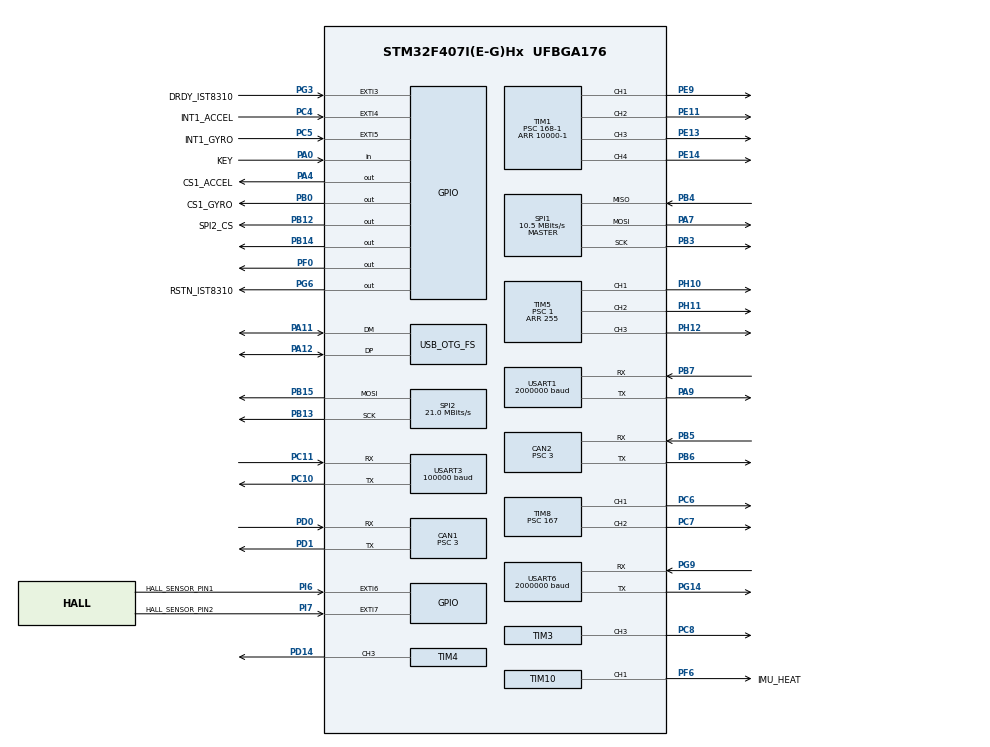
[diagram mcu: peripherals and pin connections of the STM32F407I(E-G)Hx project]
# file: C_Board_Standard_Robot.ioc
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CAN1.BS1=CAN_BS1_10TQ
CAN1.BS2=CAN_BS2_3TQ
CAN1.CalculateBaudRate=1000000
CAN1.CalculateTimeQuantum=71.42857142857143
CAN1.Prescaler=3
CAN1.SJW=CAN_SJW_1TQ
CAN2.BS1=CAN_BS1_10TQ
CAN2.BS2=CAN_BS2_3TQ
CAN2.CalculateBaudRate=1000000
CAN2.CalculateTimeQuantum=71.42857142857143
CAN2.Prescaler=3
Dma.Request0=SPI1_RX
Dma.Request1=SPI1_TX
Dma.Request2=USART3_RX
Dma.Request3=SPI2_TX
Dma.Request4=USART1_TX
Dma.Request5=USART6_RX
Dma.Request6=USART6_TX
Dma.Request7=USART1_RX
Dma.SPI1_RX.0.Direction=DMA_PERIPH_TO_MEMORY
Dma.SPI1_RX.0.FIFOMode=DMA_FIFOMODE_DISABLE
Dma.SPI1_RX.0.Instance=DMA2_Stream2
Dma.SPI1_RX.0.MemDataAlignment=DMA_MDATAALIGN_BYTE
Dma.SPI1_RX.0.MemInc=DMA_MINC_ENABLE
Dma.SPI1_RX.0.Mode=DMA_NORMAL
Dma.SPI1_RX.0.PeriphDataAlignment=DMA_PDATAALIGN_BYTE
Dma.SPI1_RX.0.PeriphInc=DMA_PINC_DISABLE
Dma.SPI1_RX.0.Priority=DMA_PRIORITY_VERY_HIGH
Dma.SPI1_TX.1.Direction=DMA_MEMORY_TO_PERIPH
Dma.SPI1_TX.1.FIFOMode=DMA_FIFOMODE_DISABLE
Dma.SPI1_TX.1.Instance=DMA2_Stream3
Dma.SPI1_TX.1.MemDataAlignment=DMA_MDATAALIGN_BYTE
Dma.SPI1_TX.1.MemInc=DMA_MINC_ENABLE
Dma.SPI1_TX.1.Mode=DMA_NORMAL
Dma.SPI1_TX.1.PeriphDataAlignment=DMA_PDATAALIGN_BYTE
Dma.SPI1_TX.1.PeriphInc=DMA_PINC_DISABLE
Dma.SPI1_TX.1.Priority=DMA_PRIORITY_HIGH
Dma.SPI2_TX.3.Direction=DMA_MEMORY_TO_PERIPH
Dma.SPI2_TX.3.FIFOMode=DMA_FIFOMODE_DISABLE
Dma.SPI2_TX.3.Instance=DMA1_Stream4
Dma.SPI2_TX.3.MemDataAlignment=DMA_MDATAALIGN_BYTE
Dma.SPI2_TX.3.MemInc=DMA_MINC_ENABLE
Dma.SPI2_TX.3.Mode=DMA_NORMAL
Dma.SPI2_TX.3.PeriphDataAlignment=DMA_PDATAALIGN_BYTE
Dma.SPI2_TX.3.PeriphInc=DMA_PINC_DISABLE
Dma.SPI2_TX.3.Priority=DMA_PRIORITY_LOW
Dma.USART1_RX.7.Direction=DMA_PERIPH_TO_MEMORY
Dma.USART1_RX.7.FIFOMode=DMA_FIFOMODE_DISABLE
Dma.USART1_RX.7.Instance=DMA2_Stream5
Dma.USART1_RX.7.MemDataAlignment=DMA_MDATAALIGN_BYTE
Dma.USART1_RX.7.MemInc=DMA_MINC_ENABLE
Dma.USART1_RX.7.Mode=DMA_NORMAL
Dma.USART1_RX.7.PeriphDataAlignment=DMA_PDATAALIGN_BYTE
Dma.USART1_RX.7.PeriphInc=DMA_PINC_DISABLE
Dma.USART1_RX.7.Priority=DMA_PRIORITY_MEDIUM
Dma.USART1_TX.4.Direction=DMA_MEMORY_TO_PERIPH
Dma.USART1_TX.4.FIFOMode=DMA_FIFOMODE_DISABLE
Dma.USART1_TX.4.Instance=DMA2_Stream7
Dma.USART1_TX.4.MemDataAlignment=DMA_MDATAALIGN_BYTE
Dma.USART1_TX.4.MemInc=DMA_MINC_ENABLE
Dma.USART1_TX.4.Mode=DMA_NORMAL
Dma.USART1_TX.4.PeriphDataAlignment=DMA_PDATAALIGN_BYTE
Dma.USART1_TX.4.PeriphInc=DMA_PINC_DISABLE
Dma.USART1_TX.4.Priority=DMA_PRIORITY_LOW
Dma.USART3_RX.2.Direction=DMA_PERIPH_TO_MEMORY
Dma.USART3_RX.2.FIFOMode=DMA_FIFOMODE_DISABLE
Dma.USART3_RX.2.Instance=DMA1_Stream1
Dma.USART3_RX.2.MemDataAlignment=DMA_MDATAALIGN_BYTE
Dma.USART3_RX.2.MemInc=DMA_MINC_ENABLE
Dma.USART3_RX.2.Mode=DMA_NORMAL
Dma.USART3_RX.2.PeriphDataAlignment=DMA_PDATAALIGN_BYTE
Dma.USART3_RX.2.PeriphInc=DMA_PINC_DISABLE
Dma.USART3_RX.2.Priority=DMA_PRIORITY_VERY_HIGH
Dma.USART6_RX.5.Direction=DMA_PERIPH_TO_MEMORY
Dma.USART6_RX.5.FIFOMode=DMA_FIFOMODE_DISABLE
Dma.USART6_RX.5.Instance=DMA2_Stream1
Dma.USART6_RX.5.MemDataAlignment=DMA_MDATAALIGN_BYTE
Dma.USART6_RX.5.MemInc=DMA_MINC_ENABLE
Dma.USART6_RX.5.Mode=DMA_NORMAL
Dma.USART6_RX.5.PeriphDataAlignment=DMA_PDATAALIGN_BYTE
Dma.USART6_RX.5.PeriphInc=DMA_PINC_DISABLE
Dma.USART6_RX.5.Priority=DMA_PRIORITY_LOW
Dma.USART6_TX.6.Direction=DMA_MEMORY_TO_PERIPH
Dma.USART6_TX.6.FIFOMode=DMA_FIFOMODE_DISABLE
Dma.USART6_TX.6.Instance=DMA2_Stream6
Dma.USART6_TX.6.MemDataAlignment=DMA_MDATAALIGN_BYTE
Dma.USART6_TX.6.MemInc=DMA_MINC_ENABLE
Dma.USART6_TX.6.Mode=DMA_NORMAL
Dma.USART6_TX.6.PeriphDataAlignment=DMA_PDATAALIGN_BYTE
Dma.USART6_TX.6.PeriphInc=DMA_PINC_DISABLE
Dma.USART6_TX.6.Priority=DMA_PRIORITY_LOW
FREERTOS.Events01=UART_FIFO_e,Static,UART_FIFO_eControlBlock;STEP_RESPON_GLOBAL_VARIABLE,Static,STEP_RESPON_GLOBAL_VARIABLEControlBlock;Key_e,Dynamic,NULL
FREERTOS.INCLUDE_eTaskGetState=1
FREERTOS.INCLUDE_pcTaskGetTaskName=1
FREERTOS.INCLUDE_uxTaskGetStackHighWaterMark=1
FREERTOS.INCLUDE_vTaskCleanUpResources=1
FREERTOS.INCLUDE_vTaskDelayUntil=1
FREERTOS.INCLUDE_xEventGroupSetBitFromISR=1
FREERTOS.INCLUDE_xQueueGetMutexHolder=1
FREERTOS.INCLUDE_xSemaphoreGetMutexHolder=1
FREERTOS.INCLUDE_xTaskAbortDelay=1
FREERTOS.INCLUDE_xTaskGetCurrentTaskHandle=1
FREERTOS.INCLUDE_xTaskGetHandle=1
FREERTOS.INCLUDE_xTimerPendFunctionCall=1
FREERTOS.Mutexes01=UART1_FIFO_mu,Static,UART1_FIFO_muControlBlock;UART6_FIFO_mu,Static,UART6_FIFO_muControlBlock
FREERTOS.Queues01=LED_q,16,uint16_t,0,Dynamic,NULL,NULL;BUZ_q,16,uint16_t,0,Dynamic,NULL,NULL;SERVO_q,16,uint16_t,0,Dynamic,NULL,NULL
FREERTOS.Tasks01=INSTask,8,1024,StartINSTask,Default,NULL,Static,INSTaskBuffer,INSTaskControlBlock;LEDTask,8,128,StartLEDTask,Default,NULL,Static,LEDTaslBuffer,LEDTaslControlBlock;BUZTask,8,128,StartBUZTask,Default,NULL,Static,BUZTaskBuffer,BUZTaskControlBlock;CANTask,8,4096,StartCANTask,Default,NULL,Static,CANTaskBuffer,CANTaskControlBlock;UART1Task,8,1024,StartUART1Task,Default,NULL,Static,UART1TaskBuffer,UART1TaskControlBlock;UART6Task,8,1024,StartUART6Task,Default,NULL,Static,UART6TaskBuffer,UART6TaskControlBlock;SERVOTask,8,128,StartSERVOTask,Default,NULL,Static,SERVOTaskBuffer,SERVOTaskControlBlock;STEP_RESPONSETa,8,256,StartSTEP_RESPONSETask,Default,NULL,Dynamic,NULL,NULL;UART6RxTask,8,512,StartUART6RxTask,Default,NULL,Static,UART6RxTaskBuffer,UART6RxTaskControlBlock;UART1RxTask,8,512,StartUART1RxTask,Default,NULL,Static,UART1RxTaskBuffer,UART1RxTaskControlBlock;MOTORTask,8,512,StartMOTORTask,Default,NULL,Dynamic,NULL,NULL;RunTimeStats,8,512,StartTask12,Default,NULL,Dynamic,NULL,NULL
FREERTOS.configCHECK_FOR_STACK_OVERFLOW=0
FREERTOS.configGENERATE_RUN_TIME_STATS=1
FREERTOS.configRECORD_STACK_HIGH_ADDRESS=1
FREERTOS.configTOTAL_HEAP_SIZE=32768
FREERTOS.configUSE_NEWLIB_REENTRANT=1
FREERTOS.configUSE_STATS_FORMATTING_FUNCTIONS=1
FREERTOS.configUSE_TRACE_FACILITY=1
Mcu.Family=STM32F4
Mcu.Name=STM32F407I(E-G)Hx
Mcu.Package=UFBGA176
NVIC.CAN1_RX0_IRQn=true\:5\:0\:false\:false\:true\:false\:true\:true\:true
NVIC.CAN2_RX0_IRQn=true\:5\:0\:false\:false\:true\:false\:true\:true\:true
NVIC.DMA1_Stream1_IRQn=true\:5\:0\:false\:false\:true\:true\:false\:true\:true
NVIC.DMA1_Stream4_IRQn=true\:5\:0\:false\:false\:true\:true\:false\:true\:true
NVIC.DMA2_Stream1_IRQn=true\:5\:0\:false\:false\:true\:true\:false\:true\:true
NVIC.DMA2_Stream2_IRQn=true\:5\:0\:true\:false\:false\:false\:false\:true\:true
NVIC.DMA2_Stream3_IRQn=true\:5\:0\:true\:false\:false\:false\:false\:true\:true
NVIC.DMA2_Stream5_IRQn=true\:5\:0\:false\:false\:true\:true\:false\:true\:true
NVIC.DMA2_Stream6_IRQn=true\:5\:0\:false\:false\:true\:true\:false\:true\:true
NVIC.DMA2_Stream7_IRQn=true\:5\:0\:false\:false\:true\:true\:false\:true\:true
NVIC.EXTI3_IRQn=true\:5\:0\:true\:false\:true\:false\:true\:true\:true
NVIC.EXTI4_IRQn=true\:5\:0\:true\:false\:true\:false\:true\:true\:true
NVIC.EXTI9_5_IRQn=true\:5\:0\:true\:false\:true\:false\:true\:true\:true
NVIC.HASH_RNG_IRQn=true\:5\:0\:false\:false\:true\:false\:true\:true\:true
NVIC.OTG_FS_IRQn=true\:5\:0\:false\:false\:true\:true\:false\:true\:true
NVIC.PriorityGroup=NVIC_PRIORITYGROUP_4
NVIC.TIM2_IRQn=true\:0\:0\:false\:false\:true\:false\:false\:true\:true
NVIC.TIM7_IRQn=true\:5\:0\:false\:false\:true\:true\:true\:true\:true
NVIC.TIM8_TRG_COM_TIM14_IRQn=true\:5\:0\:false\:false\:true\:true\:true\:true\:true
NVIC.TimeBase=TIM2_IRQn
NVIC.TimeBaseIP=TIM2
NVIC.USART1_IRQn=true\:5\:0\:true\:false\:true\:false\:true\:true\:true
NVIC.USART3_IRQn=true\:5\:0\:true\:false\:true\:false\:true\:true\:true
NVIC.USART6_IRQn=true\:5\:0\:false\:false\:true\:false\:true\:true\:true
PA0-WKUP.GPIO_Label=KEY
PA0-WKUP.GPIO_PuPd=GPIO_PULLUP
PA0-WKUP.Signal=GPIO_Input
PA11.Mode=Device_Only
PA11.Signal=USB_OTG_FS_DM
PA12.Mode=Device_Only
PA12.Signal=USB_OTG_FS_DP
PA13.Mode=Serial_Wire
PA13.Signal=SYS_JTMS-SWDIO
PA14.Mode=Serial_Wire
PA14.Signal=SYS_JTCK-SWCLK
PA4.GPIO_Label=CS1_ACCEL
PA4.GPIO_PuPd=GPIO_PULLUP
PA4.GPIO_Speed=GPIO_SPEED_FREQ_HIGH
PA4.PinState=GPIO_PIN_SET
PA4.Signal=GPIO_Output
PA7.GPIO_PuPd=GPIO_PULLUP
PA7.Mode=Full_Duplex_Master
PA7.Signal=SPI1_MOSI
PA9.Mode=Asynchronous
PA9.Signal=USART1_TX
PB0.GPIO_Label=CS1_GYRO
PB0.GPIO_PuPd=GPIO_PULLUP
PB0.GPIO_Speed=GPIO_SPEED_FREQ_HIGH
PB0.PinState=GPIO_PIN_SET
PB0.Signal=GPIO_Output
PB12.GPIO_Label=SPI2_CS
PB12.GPIO_PuPd=GPIO_PULLUP
PB12.GPIO_Speed=GPIO_SPEED_FREQ_MEDIUM
PB12.PinState=GPIO_PIN_SET
PB12.Signal=GPIO_Output
PB13.Mode=TX_Only_Simplex_Unidirect_Master
PB13.Signal=SPI2_SCK
PB14.GPIO_Speed=GPIO_SPEED_FREQ_VERY_HIGH
PB14.Signal=GPIO_Output
PB15.Mode=TX_Only_Simplex_Unidirect_Master
PB15.Signal=SPI2_MOSI
PB3.GPIO_PuPd=GPIO_PULLUP
PB3.Mode=Full_Duplex_Master
PB3.Signal=SPI1_SCK
PB4.GPIO_PuPd=GPIO_PULLUP
PB4.Mode=Full_Duplex_Master
PB4.Signal=SPI1_MISO
PB5.Mode=CAN_Activate
PB5.Signal=CAN2_RX
PB6.Mode=CAN_Activate
PB6.Signal=CAN2_TX
PB7.Mode=Asynchronous
PB7.Signal=USART1_RX
PC10.GPIO_PuPd=GPIO_PULLUP
PC10.Mode=Asynchronous
PC10.Signal=USART3_TX
PC11.GPIO_PuPd=GPIO_PULLUP
PC11.Mode=Asynchronous
PC11.Signal=USART3_RX
PC4.GPIO_Label=INT1_ACCEL
PC4.GPIO_ModeDefaultEXTI=GPIO_MODE_IT_FALLING
PC4.GPIO_PuPd=GPIO_PULLUP
PC4.Signal=GPXTI4
PC5.GPIO_Label=INT1_GYRO
PC5.GPIO_ModeDefaultEXTI=GPIO_MODE_IT_FALLING
PC5.GPIO_PuPd=GPIO_PULLUP
PC5.Signal=GPXTI5
PC6.Signal=S_TIM8_CH1
PC7.Signal=S_TIM8_CH2
PC8.Signal=S_TIM3_CH3
PD0.Mode=CAN_Activate
PD0.Signal=CAN1_RX
PD1.Mode=CAN_Activate
PD1.Signal=CAN1_TX
PD14.Signal=S_TIM4_CH3
PE11.Signal=S_TIM1_CH2
PE13.Signal=S_TIM1_CH3
PE14.Signal=S_TIM1_CH4
PE9.Signal=S_TIM1_CH1
PF0.GPIO_Speed=GPIO_SPEED_FREQ_VERY_HIGH
PF0.Signal=GPIO_Output
PF6.GPIO_Label=IMU_HEAT
PF6.GPIO_PuPd=GPIO_PULLUP
PF6.GPIO_Speed=GPIO_SPEED_FREQ_HIGH
PF6.Signal=S_TIM10_CH1
PG14.Mode=Asynchronous
PG14.Signal=USART6_TX
PG3.GPIO_Label=DRDY_IST8310
PG3.GPIO_ModeDefaultEXTI=GPIO_MODE_IT_FALLING
PG3.GPIO_PuPd=GPIO_PULLUP
PG3.Signal=GPXTI3
PG6.GPIO_Label=RSTN_IST8310
PG6.GPIO_PuPd=GPIO_PULLUP
PG6.GPIO_Speed=GPIO_SPEED_FREQ_MEDIUM
PG6.PinState=GPIO_PIN_SET
PG6.Signal=GPIO_Output
PG9.Mode=Asynchronous
PG9.Signal=USART6_RX
PH0-OSC_IN.Mode=HSE-External-Oscillator
PH0-OSC_IN.Signal=RCC_OSC_IN
PH1-OSC_OUT.Mode=HSE-External-Oscillator
PH1-OSC_OUT.Signal=RCC_OSC_OUT
PH10.Signal=S_TIM5_CH1
PH11.Signal=S_TIM5_CH2
PH12.Signal=S_TIM5_CH3
PI6.GPIO_Label=HALL_SENSOR_PIN1
PI6.Signal=GPXTI6
PI7.GPIO_Label=HALL_SENSOR_PIN2
PI7.Signal=GPXTI7
ProjectManager.HeapSize=0x2000
ProjectManager.StackSize=0x5000
ProjectManager.TargetToolchain=STM32CubeIDE
RCC.48MHZClocksFreq_Value=48000000
RCC.AHBFreq_Value=168000000
RCC.APB1CLKDivider=RCC_HCLK_DIV4
RCC.APB1Freq_Value=42000000
RCC.APB1TimFreq_Value=84000000
RCC.APB2CLKDivider=RCC_HCLK_DIV2
RCC.APB2Freq_Value=84000000
RCC.APB2TimFreq_Value=168000000
RCC.CortexFreq_Value=168000000
RCC.EnbaleCSS=true
RCC.HCLKFreq_Value=168000000
RCC.HSE_VALUE=12000000
RCC.HSI_VALUE=16000000
RCC.LSE_VALUE=32768
RCC.PLLM=6
RCC.PLLN=168
RCC.PLLQ=7
RCC.RCC_RTC_Clock_SourceVirtual=RCC_RTCCLKSOURCE_HSE_DIV30
RCC.RCC_RTC_Clock_Source_FROM_HSE=RCC_RTCCLKSOURCE_HSE_DIV30
RCC.SYSCLKFreq_VALUE=168000000
RCC.SYSCLKSource=RCC_SYSCLKSOURCE_PLLCLK
RCC.VCOOutputFreq_Value=336000000
SH.S_TIM10_CH1.0=TIM10_CH1,PWM Generation1 CH1
SH.S_TIM1_CH1.0=TIM1_CH1,PWM Generation1 CH1
SH.S_TIM1_CH2.0=TIM1_CH2,PWM Generation2 CH2
SH.S_TIM1_CH3.0=TIM1_CH3,PWM Generation3 CH3
SH.S_TIM1_CH4.0=TIM1_CH4,PWM Generation4 CH4
SH.S_TIM3_CH3.0=TIM3_CH3,PWM Generation3 CH3
SH.S_TIM4_CH3.0=TIM4_CH3,PWM Generation3 CH3
SH.S_TIM5_CH1.0=TIM5_CH1,PWM Generation1 CH1
SH.S_TIM5_CH2.0=TIM5_CH2,PWM Generation2 CH2
SH.S_TIM5_CH3.0=TIM5_CH3,PWM Generation3 CH3
SH.S_TIM8_CH1.0=TIM8_CH1,PWM Generation1 CH1
SH.S_TIM8_CH2.0=TIM8_CH2,PWM Generation2 CH2
SPI1.BaudRatePrescaler=SPI_BAUDRATEPRESCALER_8
SPI1.CLKPhase=SPI_PHASE_2EDGE
SPI1.CLKPolarity=SPI_POLARITY_HIGH
SPI1.CalculateBaudRate=10.5 MBits/s
SPI1.Direction=SPI_DIRECTION_2LINES
SPI1.Mode=SPI_MODE_MASTER
SPI1.VirtualType=VM_MASTER
SPI2.CalculateBaudRate=21.0 MBits/s
SPI2.Direction=SPI_DIRECTION_2LINES
SPI2.Mode=SPI_MODE_MASTER
SPI2.VirtualType=VM_MASTER
TIM1.Channel-PWM\ Generation1\ CH1=TIM_CHANNEL_1
TIM1.Channel-PWM\ Generation2\ CH2=TIM_CHANNEL_2
TIM1.Channel-PWM\ Generation3\ CH3=TIM_CHANNEL_3
TIM1.Channel-PWM\ Generation4\ CH4=TIM_CHANNEL_4
TIM1.Period=10000-1
TIM1.Prescaler=168-1
TIM10.Channel=TIM_CHANNEL_1
TIM10.Period=2000-1
TIM10.Prescaler=84-1
TIM11.Period=0
TIM11.Prescaler=16799
TIM13.Period=0
TIM13.Prescaler=167
TIM14.Period=16800-1
TIM14.Prescaler=100-1
TIM3.Channel-PWM\ Generation3\ CH3=TIM_CHANNEL_3
TIM3.Pulse-PWM\ Generation3\ CH3=32768
TIM4.Channel-PWM\ Generation3\ CH3=TIM_CHANNEL_3
TIM4.Period=7635
TIM4.Prescaler=84
TIM5.Channel-PWM\ Generation1\ CH1=TIM_CHANNEL_1
TIM5.Channel-PWM\ Generation2\ CH2=TIM_CHANNEL_2
TIM5.Channel-PWM\ Generation3\ CH3=TIM_CHANNEL_3
TIM5.Period=255
TIM5.Prescaler=1
TIM7.Period=1000 - 1
TIM7.Prescaler=168 - 1
TIM8.Channel-PWM\ Generation1\ CH1=TIM_CHANNEL_1
TIM8.Channel-PWM\ Generation2\ CH2=TIM_CHANNEL_2
TIM8.Period=19999
TIM8.Prescaler=167
USART1.BaudRate=2000000
USART1.VirtualMode=VM_ASYNC
USART3.BaudRate=100000
USART3.Mode=MODE_RX
USART3.Parity=PARITY_EVEN
USART3.VirtualMode=VM_ASYNC
USART3.WordLength=WORDLENGTH_9B
USART6.BaudRate=2000000
USART6.VirtualMode=VM_ASYNC
USB_DEVICE.CLASS_NAME_FS=CDC
USB_DEVICE.MANUFACTURER_STRING-CDC_FS=Lab.304
USB_DEVICE.PRODUCT_STRING_CDC_FS=Alipay
USB_DEVICE.VirtualMode-CDC_FS=Cdc
USB_DEVICE.VirtualModeFS=Cdc_FS
USB_OTG_FS.VirtualMode=Device_Only
VP_CRC_VS_CRC.Mode=CRC_Activate
VP_FREERTOS_VS_CMSIS_V2.Mode=CMSIS_V2
VP_IWDG_VS_IWDG.Mode=IWDG_Activate
VP_RNG_VS_RNG.Mode=RNG_Activate
VP_SYS_VS_tim2.Mode=TIM2
VP_TIM10_VS_ClockSourceINT.Mode=Enable_Timer
VP_TIM11_VS_ClockSourceINT.Mode=Enable_Timer
VP_TIM13_VS_ClockSourceINT.Mode=Enable_Timer
VP_TIM14_VS_ClockSourceINT.Mode=Enable_Timer
VP_TIM1_VS_ClockSourceINT.Mode=Internal
VP_TIM3_VS_ClockSourceINT.Mode=Internal
VP_TIM4_VS_ClockSourceINT.Mode=Internal
VP_TIM5_VS_ClockSourceINT.Mode=Internal
VP_TIM7_VS_ClockSourceINT.Mode=Enable_Timer
VP_TIM8_VS_ClockSourceINT.Mode=Internal
VP_USB_DEVICE_VS_USB_DEVICE_CDC_FS.Mode=CDC_FS
board=custom

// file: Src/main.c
/* USER CODE BEGIN Header */
/**
 ******************************************************************************
 * @file           : main.c
 * @brief          : Main program body
 ******************************************************************************
 * @attention
 *
 * Copyright (c) 2024 STMicroelectronics.
 * All rights reserved.
 *
 * This software is licensed under terms that can be found in the LICENSE file
 * in the root directory of this software component.
 * If no LICENSE file comes with this software, it is provided AS-IS.
 *
 ******************************************************************************
 */
/* USER CODE END Header */
#include "main.h"
#include "cmsis_os.h"
#include "can.h"
#include "crc.h"
#include "dma.h"
#include "rng.h"
#include "spi.h"
#include "tim.h"
#include "usart.h"
#include "gpio.h"

/* USER CODE BEGIN Includes */
#include "usb_device.h"

#include "bsp.h"
#include "app_rc.h"
#include "ins_task.h"
#include "bsp_dwt.h"
#include "app_aim.h"
/* USER CODE END Includes */

void SystemClock_Config (void);
void MX_FREERTOS_Init (void);

/* USER CODE BEGIN 0 */

/*configAPPLICATION_ALLOCATED_HEAP FreeRTOS heap defined in CCMRAM*/
__attribute__ ((section(".ccmram"))) uint8_t ucHeap[configTOTAL_HEAP_SIZE];

uint32_t g_osRuntimeCounter = 0;

/* USER CODE END 0 */

int main (void)
{

  /* MCU Configuration--------------------------------------------------------*/

  /* Reset of all peripherals, Initializes the Flash interface and the Systick. */
  HAL_Init ();

  /* USER CODE BEGIN Init */
  HAL_RCC_DeInit ();
  /* USER CODE END Init */

  /* Configure the system clock */
  SystemClock_Config ();

  /* Initialize all configured peripherals */
  MX_GPIO_Init ();
  MX_DMA_Init ();
  MX_SPI1_Init ();
  MX_TIM10_Init ();
  MX_CAN1_Init ();
  MX_CAN2_Init ();
  MX_USART3_UART_Init ();
  MX_USART1_UART_Init ();
  MX_USART6_UART_Init ();
  MX_SPI2_Init ();
  MX_CRC_Init ();
  MX_RNG_Init ();
  MX_TIM3_Init ();
  MX_TIM4_Init ();
  MX_TIM5_Init ();
  MX_TIM8_Init ();
  MX_TIM11_Init ();
  MX_TIM13_Init ();
  MX_TIM1_Init ();
  MX_TIM14_Init ();
  MX_TIM7_Init ();
  /* USER CODE BEGIN 2 */
  MX_USB_DEVICE_Init ();

  bsp_led_init ();
  bsp_led_write (LED_BLUE, 255);//end in MX_FREERTOS_Init

  bsp_uart_init ();

  CAN_FilterSetup ();
  remote_control_init ();

  app_aim_init ();

//  bsp_buz_init ();
//  bsp_buz_apply_frequency (83);

  while (BMI088_init (&hspi1, 1) != BMI088_NO_ERROR);
  DWT_Init (168);
  INS_Init ();

//  bsp_buz_mute ();

  /* USER CODE END 2 */

  /* Init scheduler */
  osKernelInitialize ();

  /* Call init function for freertos objects (in freertos.c) */
  MX_FREERTOS_Init ();

  /* Start scheduler */
  osKernelStart ();

  /* We should never get here as control is now taken by the scheduler */
  /* Infinite loop */
  while (1)
	{

	}
}

void SystemClock_Config (void)
{
  RCC_OscInitTypeDef RCC_OscInitStruct = {0};
  RCC_ClkInitTypeDef RCC_ClkInitStruct = {0};

  /** Configure the main internal regulator output voltage
  */
  __HAL_RCC_PWR_CLK_ENABLE();
  __HAL_PWR_VOLTAGESCALING_CONFIG(PWR_REGULATOR_VOLTAGE_SCALE1);

  /** Initializes the RCC Oscillators according to the specified parameters
  * in the RCC_OscInitTypeDef structure.
  */
  RCC_OscInitStruct.OscillatorType = RCC_OSCILLATORTYPE_LSI | RCC_OSCILLATORTYPE_HSE;
  RCC_OscInitStruct.HSEState = RCC_HSE_ON;
  RCC_OscInitStruct.LSIState = RCC_LSI_ON;
  RCC_OscInitStruct.PLL.PLLState = RCC_PLL_ON;
  RCC_OscInitStruct.PLL.PLLSource = RCC_PLLSOURCE_HSE;
  RCC_OscInitStruct.PLL.PLLM = 6;
  RCC_OscInitStruct.PLL.PLLN = 168;
  RCC_OscInitStruct.PLL.PLLP = RCC_PLLP_DIV2;
  RCC_OscInitStruct.PLL.PLLQ = 7;
  if (HAL_RCC_OscConfig (&RCC_OscInitStruct) != HAL_OK)
	{
	  Error_Handler ();
	}

  /** Initializes the CPU, AHB and APB buses clocks
  */
  RCC_ClkInitStruct.ClockType = RCC_CLOCKTYPE_HCLK | RCC_CLOCKTYPE_SYSCLK
								| RCC_CLOCKTYPE_PCLK1 | RCC_CLOCKTYPE_PCLK2;
  RCC_ClkInitStruct.SYSCLKSource = RCC_SYSCLKSOURCE_PLLCLK;
  RCC_ClkInitStruct.AHBCLKDivider = RCC_SYSCLK_DIV1;
  RCC_ClkInitStruct.APB1CLKDivider = RCC_HCLK_DIV4;
  RCC_ClkInitStruct.APB2CLKDivider = RCC_HCLK_DIV2;

  if (HAL_RCC_ClockConfig (&RCC_ClkInitStruct, FLASH_LATENCY_5) != HAL_OK)
	{
	  Error_Handler ();
	}

  /** Enables the Clock Security System
  */
  HAL_RCC_EnableCSS ();
}

void HAL_TIM_PeriodElapsedCallback (TIM_HandleTypeDef *htim)
{
  if (htim->Instance == TIM2)
	{
	  HAL_IncTick ();
	}
  /* USER CODE BEGIN Callback 1 */
  if (htim->Instance == TIM7)
	{
	  g_osRuntimeCounter++;
	}
  /* USER CODE END Callback 1 */
}

void Error_Handler (void)
{
  /* USER CODE BEGIN Error_Handler_Debug */
  /* User can add his own implementation to report the HAL error return state */
  __disable_irq ();
  while (1)
	{
	}
  /* USER CODE END Error_Handler_Debug */
}

#ifdef  USE_FULL_ASSERT
/**
  * @brief  Reports the name of the source file and the source line number
  *         where the assert_param error has occurred.
  * @param  file: pointer to the source file name
  * @param  line: assert_param error line source number
  * @retval None
  */
void assert_failed (uint8_t *file, uint32_t line)
{
  /* USER CODE BEGIN 6 */
  /* User can add his own implementation to report the file name and line
	 number, ex: printf("Wrong parameters value: file %s on line %d\r\n", file,
	 line) */
  /* USER CODE END 6 */
}
#endif /* USE_FULL_ASSERT */

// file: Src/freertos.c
/* USER CODE BEGIN Header */
/**
 ******************************************************************************
 * File Name          : freertos.c
 * Description        : Code for freertos applications
 ******************************************************************************
 * @attention
 *
 * Copyright (c) 2024 STMicroelectronics.
 * All rights reserved.
 *
 * This software is licensed under terms that can be found in the LICENSE file
 * in the root directory of this software component.
 * If no LICENSE file comes with this software, it is provided AS-IS.
 *
 ******************************************************************************
 */
/* USER CODE END Header */

#include "FreeRTOS.h"
#include "task.h"
#include "main.h"
#include "cmsis_os.h"

/* USER CODE BEGIN Includes */
#include "can.h"
#include "crc.h"
#include "dma.h"
#include "gpio.h"
#include "rng.h"
#include "spi.h"
#include "tim.h"
#include "usart.h"

#include "stdio.h"
#include <stdarg.h>

#include "bsp.h"

#include "app_pid.h"
#include "app_step_resp.h"

#include "semphr.h"
#include "ins_task.h"
#include "app_rc.h"
#include "app_nav.h"

#include "usbd_cdc_if.h"
#include "bsp_isr.h"
#include "app_motor.h"
#include "app_aim.h"

#pragma clang diagnostic push
#pragma ide diagnostic ignored "UnusedValue"
#pragma ide diagnostic ignored "UnusedParameter"
#pragma ide diagnostic ignored "EndlessLoop"
/* USER CODE END Includes */

typedef StaticTask_t osStaticThreadDef_t;
typedef StaticSemaphore_t osStaticMutexDef_t;
typedef StaticEventGroup_t osStaticEventGroupDef_t;
/* USER CODE BEGIN PTD */
//delete 123456
/* USER CODE END PTD */

/* USER CODE BEGIN PD */
#define USE_STEP_RESPONSE 1
/* USER CODE END PD */

/* USER CODE BEGIN Variables */
void print (char *fmt, ...)
{
  uint8_t buf[128];

  uint16_t len;
  va_list ap;
  va_start(ap, fmt);
  len = vsnprintf ((char *) buf, 128, fmt, ap);
  va_end(ap);

  // while (flag_u1 == 1) {
  // }
  // HAL_UART_Transmit_DMA(&huart1, buf, len);

  HAL_UART_Transmit (&huart1, buf, len, 1000);
  // HAL_UART_Transmit_DMA(&huart1, buf, len);
}
/* USER CODE END Variables */
/* Definitions for INSTask */
osThreadId_t INSTaskHandle;
uint32_t INSTaskBuffer[1024];
osStaticThreadDef_t INSTaskControlBlock;
const osThreadAttr_t INSTask_attributes = {
	.name = "INSTask",
	.cb_mem = &INSTaskControlBlock,
	.cb_size = sizeof (INSTaskControlBlock),
	.stack_mem = &INSTaskBuffer[0],
	.stack_size = sizeof (INSTaskBuffer),
	.priority = (osPriority_t) osPriorityLow,
};
/* Definitions for LEDTask */
osThreadId_t LEDTaskHandle;
uint32_t LEDTaslBuffer[128];
osStaticThreadDef_t LEDTaslControlBlock;
const osThreadAttr_t LEDTask_attributes = {
	.name = "LEDTask",
	.cb_mem = &LEDTaslControlBlock,
	.cb_size = sizeof (LEDTaslControlBlock),
	.stack_mem = &LEDTaslBuffer[0],
	.stack_size = sizeof (LEDTaslBuffer),
	.priority = (osPriority_t) osPriorityLow,
};
/* Definitions for BUZTask */
osThreadId_t BUZTaskHandle;
uint32_t BUZTaskBuffer[128];
osStaticThreadDef_t BUZTaskControlBlock;
const osThreadAttr_t BUZTask_attributes = {
	.name = "BUZTask",
	.cb_mem = &BUZTaskControlBlock,
	.cb_size = sizeof (BUZTaskControlBlock),
	.stack_mem = &BUZTaskBuffer[0],
	.stack_size = sizeof (BUZTaskBuffer),
	.priority = (osPriority_t) osPriorityLow,
};
/* Definitions for CANTask */
osThreadId_t CANTaskHandle;
uint32_t CANTaskBuffer[4096];
osStaticThreadDef_t CANTaskControlBlock;
const osThreadAttr_t CANTask_attributes = {
	.name = "CANTask",
	.cb_mem = &CANTaskControlBlock,
	.cb_size = sizeof (CANTaskControlBlock),
	.stack_mem = &CANTaskBuffer[0],
	.stack_size = sizeof (CANTaskBuffer),
	.priority = (osPriority_t) osPriorityLow,
};
/* Definitions for UART1Task */
osThreadId_t UART1TaskHandle;
uint32_t UART1TaskBuffer[1024];
osStaticThreadDef_t UART1TaskControlBlock;
const osThreadAttr_t UART1Task_attributes = {
	.name = "UART1Task",
	.cb_mem = &UART1TaskControlBlock,
	.cb_size = sizeof (UART1TaskControlBlock),
	.stack_mem = &UART1TaskBuffer[0],
	.stack_size = sizeof (UART1TaskBuffer),
	.priority = (osPriority_t) osPriorityLow,
};
/* Definitions for UART6Task */
osThreadId_t UART6TaskHandle;
uint32_t UART6TaskBuffer[1024];
osStaticThreadDef_t UART6TaskControlBlock;
const osThreadAttr_t UART6Task_attributes = {
	.name = "UART6Task",
	.cb_mem = &UART6TaskControlBlock,
	.cb_size = sizeof (UART6TaskControlBlock),
	.stack_mem = &UART6TaskBuffer[0],
	.stack_size = sizeof (UART6TaskBuffer),
	.priority = (osPriority_t) osPriorityLow,
};
/* Definitions for SERVOTask */
osThreadId_t SERVOTaskHandle;
uint32_t SERVOTaskBuffer[128];
osStaticThreadDef_t SERVOTaskControlBlock;
const osThreadAttr_t SERVOTask_attributes = {
	.name = "SERVOTask",
	.cb_mem = &SERVOTaskControlBlock,
	.cb_size = sizeof (SERVOTaskControlBlock),
	.stack_mem = &SERVOTaskBuffer[0],
	.stack_size = sizeof (SERVOTaskBuffer),
	.priority = (osPriority_t) osPriorityLow,
};
/* Definitions for STEP_RESPONSETa */
osThreadId_t STEP_RESPONSETaHandle;
const osThreadAttr_t STEP_RESPONSETa_attributes = {
	.name = "STEP_RESPONSETa",
	.stack_size = 256 * 4,
	.priority = (osPriority_t) osPriorityLow,
};
/* Definitions for UART6RxTask */
osThreadId_t UART6RxTaskHandle;
uint32_t UART6RxTaskBuffer[512];
osStaticThreadDef_t UART6RxTaskControlBlock;
const osThreadAttr_t UART6RxTask_attributes = {
	.name = "UART6RxTask",
	.cb_mem = &UART6RxTaskControlBlock,
	.cb_size = sizeof (UART6RxTaskControlBlock),
	.stack_mem = &UART6RxTaskBuffer[0],
	.stack_size = sizeof (UART6RxTaskBuffer),
	.priority = (osPriority_t) osPriorityLow,
};
/* Definitions for UART1RxTask */
osThreadId_t UART1RxTaskHandle;
uint32_t UART1RxTaskBuffer[512];
osStaticThreadDef_t UART1RxTaskControlBlock;
const osThreadAttr_t UART1RxTask_attributes = {
	.name = "UART1RxTask",
	.cb_mem = &UART1RxTaskControlBlock,
	.cb_size = sizeof (UART1RxTaskControlBlock),
	.stack_mem = &UART1RxTaskBuffer[0],
	.stack_size = sizeof (UART1RxTaskBuffer),
	.priority = (osPriority_t) osPriorityLow,
};
/* Definitions for MOTORTask */
osThreadId_t MOTORTaskHandle;
const osThreadAttr_t MOTORTask_attributes = {
	.name = "MOTORTask",
	.stack_size = 512 * 4,
	.priority = (osPriority_t) osPriorityLow,
};
/* Definitions for RunTimeStats */
osThreadId_t RunTimeStatsHandle;
const osThreadAttr_t RunTimeStats_attributes = {
	.name = "RunTimeStats",
	.stack_size = 512 * 4,
	.priority = (osPriority_t) osPriorityLow,
};
/* Definitions for LED_q */
osMessageQueueId_t LED_qHandle;
const osMessageQueueAttr_t LED_q_attributes = {
	.name = "LED_q"
};
/* Definitions for BUZ_q */
osMessageQueueId_t BUZ_qHandle;
const osMessageQueueAttr_t BUZ_q_attributes = {
	.name = "BUZ_q"
};
/* Definitions for SERVO_q */
osMessageQueueId_t SERVO_qHandle;
const osMessageQueueAttr_t SERVO_q_attributes = {
	.name = "SERVO_q"
};
/* Definitions for UART1_FIFO_mu */
osMutexId_t UART1_FIFO_muHandle;
osStaticMutexDef_t UART1_FIFO_muControlBlock;
const osMutexAttr_t UART1_FIFO_mu_attributes = {
	.name = "UART1_FIFO_mu",
	.cb_mem = &UART1_FIFO_muControlBlock,
	.cb_size = sizeof (UART1_FIFO_muControlBlock),
};
/* Definitions for UART6_FIFO_mu */
osMutexId_t UART6_FIFO_muHandle;
osStaticMutexDef_t UART6_FIFO_muControlBlock;
const osMutexAttr_t UART6_FIFO_mu_attributes = {
	.name = "UART6_FIFO_mu",
	.cb_mem = &UART6_FIFO_muControlBlock,
	.cb_size = sizeof (UART6_FIFO_muControlBlock),
};
/* Definitions for UART_FIFO_e */
osEventFlagsId_t UART_FIFO_eHandle;
osStaticEventGroupDef_t UART_FIFO_eControlBlock;
const osEventFlagsAttr_t UART_FIFO_e_attributes = {
	.name = "UART_FIFO_e",
	.cb_mem = &UART_FIFO_eControlBlock,
	.cb_size = sizeof (UART_FIFO_eControlBlock),
};
/* Definitions for STEP_RESPON_GLOBAL_VARIABLE */
osEventFlagsId_t STEP_RESPON_GLOBAL_VARIABLEHandle;
osStaticEventGroupDef_t STEP_RESPON_GLOBAL_VARIABLEControlBlock;
const osEventFlagsAttr_t STEP_RESPON_GLOBAL_VARIABLE_attributes = {
	.name = "STEP_RESPON_GLOBAL_VARIABLE",
	.cb_mem = &STEP_RESPON_GLOBAL_VARIABLEControlBlock,
	.cb_size = sizeof (STEP_RESPON_GLOBAL_VARIABLEControlBlock),
};
/* Definitions for Key_e */
osEventFlagsId_t Key_eHandle;
const osEventFlagsAttr_t Key_e_attributes = {
	.name = "Key_e"
};

void StartINSTask (void *argument);
void StartLEDTask (void *argument);
void StartBUZTask (void *argument);
void StartCANTask (void *argument);
void StartUART1Task (void *argument);
void StartUART6Task (void *argument);
void StartSERVOTask (void *argument);
void StartSTEP_RESPONSETask (void *argument);
void StartUART6RxTask (void *argument);
void StartUART1RxTask (void *argument);
void StartMOTORTask (void *argument);
void StartTask12 (void *argument);

void MX_FREERTOS_Init (void); /* (MISRA C 2004 rule 8.1) */

/* Hook prototypes */
void configureTimerForRunTimeStats (void);
unsigned long getRunTimeCounterValue (void);

/* USER CODE BEGIN 1 */
/* Functions needed when configGENERATE_RUN_TIME_STATS is on */
extern uint32_t g_osRuntimeCounter;/*defined in main.c(CCMRAM)*/
__weak void configureTimerForRunTimeStats (void)
{
  HAL_TIM_Base_Start_IT (&htim7);
  g_osRuntimeCounter = 0;
}

__weak unsigned long getRunTimeCounterValue (void)
{ return g_osRuntimeCounter; }
/* USER CODE END 1 */

void MX_FREERTOS_Init (void)
{
  /* Create the mutex(es) */
  /* creation of UART1_FIFO_mu */
  UART1_FIFO_muHandle = osMutexNew (&UART1_FIFO_mu_attributes);

  /* creation of UART6_FIFO_mu */
  UART6_FIFO_muHandle = osMutexNew (&UART6_FIFO_mu_attributes);

  /* Create the queue(s) */
  /* creation of LED_q */
  LED_qHandle = osMessageQueueNew (16, sizeof (uint16_t), &LED_q_attributes);

  /* creation of BUZ_q */
  BUZ_qHandle = osMessageQueueNew (16, sizeof (uint16_t), &BUZ_q_attributes);

  /* creation of SERVO_q */
  SERVO_qHandle = osMessageQueueNew (16, sizeof (uint16_t), &SERVO_q_attributes);

  /* Create the thread(s) */
  /* creation of INSTask */
  INSTaskHandle = osThreadNew (StartINSTask, NULL, &INSTask_attributes);

  /* creation of LEDTask */
  LEDTaskHandle = osThreadNew (StartLEDTask, NULL, &LEDTask_attributes);

  /* creation of BUZTask */
  BUZTaskHandle = osThreadNew (StartBUZTask, NULL, &BUZTask_attributes);

  /* creation of CANTask */
  CANTaskHandle = osThreadNew (StartCANTask, NULL, &CANTask_attributes);

  /* creation of UART1Task */
  UART1TaskHandle = osThreadNew (StartUART1Task, NULL, &UART1Task_attributes);

  /* creation of UART6Task */
  UART6TaskHandle = osThreadNew (StartUART6Task, NULL, &UART6Task_attributes);

  /* creation of SERVOTask */
  SERVOTaskHandle = osThreadNew (StartSERVOTask, NULL, &SERVOTask_attributes);

  /* creation of STEP_RESPONSETa */
  STEP_RESPONSETaHandle = osThreadNew (StartSTEP_RESPONSETask, NULL, &STEP_RESPONSETa_attributes);

  /* creation of UART6RxTask */
  UART6RxTaskHandle = osThreadNew (StartUART6RxTask, NULL, &UART6RxTask_attributes);

  /* creation of UART1RxTask */
  UART1RxTaskHandle = osThreadNew (StartUART1RxTask, NULL, &UART1RxTask_attributes);

  /* creation of MOTORTask */
  MOTORTaskHandle = osThreadNew (StartMOTORTask, NULL, &MOTORTask_attributes);

  /* creation of RunTimeStats */
  RunTimeStatsHandle = osThreadNew (StartTask12, NULL, &RunTimeStats_attributes);

  /* creation of UART_FIFO_e */
  UART_FIFO_eHandle = osEventFlagsNew (&UART_FIFO_e_attributes);

  /* creation of STEP_RESPON_GLOBAL_VARIABLE */
  STEP_RESPON_GLOBAL_VARIABLEHandle = osEventFlagsNew (&STEP_RESPON_GLOBAL_VARIABLE_attributes);

  /* creation of Key_e */
  Key_eHandle = osEventFlagsNew (&Key_e_attributes);

  /* USER CODE BEGIN RTOS_EVENTS */

  bsp_led_write (LED_BLUE, 0);//started in main->init_funcs
  /* add events, ... */
  /* USER CODE END RTOS_EVENTS */

}

void StartINSTask (void *argument)
{
  /* USER CODE BEGIN StartINSTask */

  /* Infinite loop */
  for (;;)
	{
	  INS_Task ();
	  osDelay (1);
	}
  /* USER CODE END StartINSTask */
}

void StartLEDTask (void *argument)
{
  /* USER CODE BEGIN StartLEDTask */
  /* Infinite loop */
  for (;;)
	{

//	  bsp_led_blink_os (LED_RED);
	  bsp_led_blink_os (LED_GREEN);
//	  bsp_led_blink_os (LED_BLUE);
//	  bsp_led_toggle (LED_GREEN);
	  osDelay (pdMS_TO_TICKS(1000));
	}
  /* USER CODE END StartLEDTask */
}

void StartBUZTask (void *argument)
{
  /* USER CODE BEGIN StartBUZTask */
  bsp_buz_set_major (BSP_BUZ_MAJOR_B);
  /* Infinite loop */
  for (;;)
	{
//	  bsp_buz_set_pitch (BSP_BUZ_TONE_MI);
//	  osDelay (666);
//	  bsp_buz_set_pitch (BSP_BUZ_TONE_RE);
//	  osDelay (333);
//	  bsp_buz_set_pitch (BSP_BUZ_TONE_DO);
//	  osDelay (666);
//
//	  bsp_buz_set_pitch (BSP_BUZ_TONE_RE);
//	  osDelay (166);
//	  bsp_buz_set_pitch (BSP_BUZ_TONE_MI);
//	  osDelay (333);
//
//	  bsp_buz_set_pitch (BSP_BUZ_TONE_FA);
//	  osDelay (333);
//	  bsp_buz_set_pitch (BSP_BUZ_TONE_MI);
//	  osDelay (166);
//	  bsp_buz_set_pitch (BSP_BUZ_TONE_RE);
//	  osDelay (333 * 2);

//	  bsp_buz_set_pitch (BSP_BUZ_TONE_RE);

//	  bsp_buz_start ();
//	  bsp_buz_apply_frequency (77);
//	  osDelay (400);
//	  bsp_buz_apply_frequency (83);
//	  osDelay (550);
	  bsp_buz_mute ();
	  osDelay (1000);

	}
  /* USER CODE END StartBUZTask */
}

/* USER CODE BEGIN Header_StartCANTask */

float pit_lim (float input)
{
  if (input > 21.0F)
	{
	  return 21.0F;
	}
  else if (input < -25.0F)
	{
	  return -25.0F;
	}
  else
	{
	  return input;
	}
}
/**
 * @brief Function implementing the CANTask thread.
 * @param argument: Not used
 * @retval None
 */
/* USER CODE END Header_StartCANTask */
void StartCANTask (void *argument)
{
  /* USER CODE BEGIN StartCANTask */

  TickType_t xLastWakeUpTime = xTaskGetTickCount ();
  char buf[128] = {0};
  int str_len = 0;

  PID_Setup ();

  PID *wheel0 = pid_get_ptr (0);
  PID *wheel1 = pid_get_ptr (1);
  PID *wheel2 = pid_get_ptr (2);
  PID *wheel3 = pid_get_ptr (3);
  motor_measure_t *motor0 = get_measure_pointer (0);
  motor_measure_t *motor1 = get_measure_pointer (1);
  motor_measure_t *motor2 = get_measure_pointer (2);
  motor_measure_t *motor3 = get_measure_pointer (3);

  const RC_ctrl_t *rc = get_remote_control_point ();

  PID *servo0_pos = pid_get_ptr (4 + 4);/*4 + 4 indicates motor5(4) -> PID -> position(+4)*/
  PID *servo0_spd = pid_get_ptr (4);/*4 + 4 indicates motor5(4) -> PID -> position(+4)*/
  motor_measure_t *motor4 = get_measure_pointer (4);

  PID *servo1_pos = pid_get_ptr (5 + 4);/*4 + 4 indicates motor5(4) -> PID -> position(+4)*/
  PID *servo1_spd = pid_get_ptr (5);/*4 + 4 indicates motor5(4) -> PID -> position(+4)*/
  motor_measure_t *motor5 = get_measure_pointer (5);

  PID *servo2_pos = pid_get_ptr (6 + 4);/*4 + 4 indicates motor5(4) -> PID -> position(+4)*/
  PID *servo2_spd = pid_get_ptr (6);/*4 + 4 indicates motor5(4) -> PID -> position(+4)*/
  motor_measure_t *motor6 = get_measure_pointer (6);

  PID *servo3_pos = pid_get_ptr (7 + 4);/*4 + 4 indicates motor5(4) -> PID -> position(+4)*/
  PID *servo3_spd = pid_get_ptr (7);/*4 + 4 indicates motor5(4) -> PID -> position(+4)*/
  motor_measure_t *motor7 = get_measure_pointer (7);

  app_nav_t *nav = get_navigation_p ();

  PID *raw_motor_pid = pid_get_raw_ptr (0);//获取速度环pid原始结构体

  /* Infinite loop */
  for (;;)
	{
	  servo0_pos->ideal = -0.01F * (float) rc->mouse.ix;
	  servo1_pos->ideal = -pit_lim (0.01F * (float) rc->mouse.iy);

	  wheel0->ideal = -0;
	  wheel1->ideal = 0;

	  if (rc->mouse.press_r == 1)
		{
		  wheel2->ideal = -2500;
		}
	  else if (rc->mouse.press_r == 0)
		{
		  wheel2->ideal = 0;
		}

	  PID_Calculate_seper (servo0_spd, servo0_pos);
	  PID_Calculate_seper (servo1_spd, servo1_pos);

	  PID_Calculate_single (wheel0);
	  PID_Calculate_single (wheel1);
	  PID_Calculate_single (wheel2);
//	  PID_Calculate_single (wheel3);

//	  bsp_printf (BSP_UART6, "%f,%f,%f\r\n", INS.YawTotalAngle, INS.Pitch, INS.Roll);
//	  bsp_printf (BSP_UART1, "%f,%f\r\n", servo1_spd->output, servo1_spd->output);
//	  bsp_printf (BSP_UART1, "%d,%d\r\n", rc->mouse.y, rc->mouse.iy);
	  bsp_printf (BSP_UART1, "%d,%d\r\n", sizeof (struct McuData), sizeof (struct SendData));

	  app_aim_send ();

	  CAN_SendMessage (CAN_CHANNEL_2, ECD_REPORT,
					   motor5->ecd << 8 | motor5->ecd >> 8, 0, 0, 0);

	  CAN_SendMessage (CAN_CHANNEL_1, MOTOR_1234,
					   (int16_t) wheel0->output,
					   (int16_t) wheel1->output,
					   (int16_t) wheel2->output,
					   0);

	  CAN_SendMessage (CAN_CHANNEL_1,
					   MOTOR_5678,
//					   0,
					   (int16_t) servo1_spd->output,
//					   0,
					   (int16_t) servo0_spd->output,
					   0,
					   0);

	  vTaskDelayUntil (&xLastWakeUpTime, 1);
	}
  /* USER CODE END StartCANTask */
}

void StartUART1Task (void *argument)
{
  /* USER CODE BEGIN StartUART1Task */

  /*private variables*/
  char rx_data[MESSAGE_BUFFER_SIZE] = {0};
  uint32_t rx_size = 0;

  /* Infinite loop */
  for (;;)
	{
	  /*wait for data coming from message buffer*/
	  rx_size = xMessageBufferReceive(UART1_MB_HANDLE,
									  rx_data,
									  MESSAGE_BUFFER_SIZE,
									  portMAX_DELAY);

	  /*if received data*/
	  if (rx_size)
		{

		  /*take the mutex to prevent other IO operations*/
		  if (xSemaphoreTake(UART1_FIFO_muHandle, portMAX_DELAY) == pdTRUE)
			{
			  HAL_UART_Transmit_DMA (&huart1, (uint8_t *) rx_data, rx_size);
			}

		  /*wait for TaskNotify from bsp_isr.c HAL_UART_TxCpltCallback of UART1 to acknowledge dma transfer done*/
		  if (xTaskNotifyWait (0,
							   UINT32_MAX,
							   NULL,
							   portMAX_DELAY) == pdPASS)
			{
			  xSemaphoreGive(UART1_FIFO_muHandle);
			}
		}
	  //    bsp_led_toggle(LED_GREEN);  //redundant led toggle for quick running state check
	}
  /* USER CODE END StartUART1Task */
}

void StartUART6Task (void *argument)
{
  /* USER CODE BEGIN StartUART6Task */
  char rx_data[MESSAGE_BUFFER_SIZE] = {0};
  uint32_t rx_size = 0;

  /* Infinite loop */
  for (;;)
	{
	  /*wait for data coming from message buffer*/
	  rx_size = xMessageBufferReceive(UART6_MB_HANDLE,
									  rx_data,
									  MESSAGE_BUFFER_SIZE,
									  portMAX_DELAY);

	  /*if received data*/
	  if (rx_size)
		{

		  /*take the mutex to prevent other IO operations*/
		  if (xSemaphoreTake(UART6_FIFO_muHandle, portMAX_DELAY) == pdTRUE)
			{
			  HAL_UART_Transmit_DMA (&huart6, (uint8_t *) rx_data, rx_size);
			}

		  /*wait for TaskNotify from bsp_isr.c HAL_UART_TxCpltCallback of UART1 to acknowledge dma transfer done*/
		  if (xTaskNotifyWait (0,
							   UINT32_MAX,
							   NULL,
							   portMAX_DELAY) == pdPASS)
			{
			  xSemaphoreGive(UART6_FIFO_muHandle);
			}
		}
	  //    bsp_led_toggle(LED_GREEN);  //redundant led toggle for quick running state check
	}
  /* USER CODE END StartUART6Task */
}

void StartSERVOTask (void *argument)
{
  /* USER CODE BEGIN StartSERVOTask */

  /* Infinite loop */
  for (;;)
	{
	  osDelay (1);
	}
  /* USER CODE END StartSERVOTask */
}

void StartSTEP_RESPONSETask (void *argument)
{
  /* USER CODE BEGIN StartSTEP_RESPONSETask */
  TickType_t xLastWakeUpTime = xTaskGetTickCount ();

#if USE_STEP_RESPONSE == 0 /*defined in freertos.c*/
  /*if not in step response mode then delete self*/
  vTaskDelete (NULL);
#endif

  /* Infinite loop */
  for (;;)
	{

	  set_bsp_pid_step_response_target (100);
	  vTaskDelayUntil (&xLastWakeUpTime, 1000);
	  set_bsp_pid_step_response_target (-100);
	  vTaskDelayUntil (&xLastWakeUpTime, 1000);
	}
  /* USER CODE END StartSTEP_RESPONSETask */
}

void StartUART6RxTask (void *argument)
{
  /* USER CODE BEGIN StartUART6RxTask */
  /* Infinite loop */
  for (;;)
	{
	  if (xTaskNotifyWait (0,
						   UINT32_MAX,
						   NULL,
						   portMAX_DELAY) == pdPASS)
		{
//		  pid_sscanf (bsp_get_uart6_rx_buf ());
//		  bsp_led_toggle (LED_GREEN);
		}
	}
  /* USER CODE END StartUART6RxTask */
}

void StartUART1RxTask (void *argument)
{
  /* USER CODE BEGIN StartUART1RxTask */
  /* Infinite loop */
  for (;;)
	{
	  if (xTaskNotifyWait (0,
						   UINT32_MAX,
						   NULL,
						   portMAX_DELAY) == pdPASS)
		{
//		  pid_sscanf (bsp_get_uart6_rx_buf ());
		}
	}
  /* USER CODE END StartUART1RxTask */
}

void StartMOTORTask (void *argument)
{
  /* USER CODE BEGIN StartMOTORTask */
  uint32_t state = 0;
  PID *motor_pid = pid_get_ptr (0);
  /* Infinite loop */
  for (;;)
	{
	  app_motor_online_detect ();

	  for (int i = 0; i < 8; i++)
		{
		  if (get_motor_mon_ptr (i)->online.online == true)
			{
//			  state |= 1 << i;
			}
		}
//	  bsp_printf (BSP_UART1, "%x\r\n", state);
//	  state = 0;

	  osDelay (10);
	}
  /* USER CODE END StartMOTORTask */
}

void StartTask12 (void *argument)
{
  /* USER CODE BEGIN StartTask12 */
  static char InfoBuffer[512] = {0};
  /* Infinite loop */
  for (;;)
	{
	  vTaskGetRunTimeStats ((char *) &InfoBuffer);
//	  bsp_printf (BSP_UART1, "\r\n任务       运行计数         使用率\r\n");
//	  bsp_printf (BSP_UART1, "\r\n%s\r\n", InfoBuffer);
	  osDelay (1000);
	}
  /* USER CODE END StartTask12 */
}

/* USER CODE BEGIN Application */

//void app_motor_offline_callback (uint8_t motor_num)
//{
//////  bsp_printf (BSP_UART1, "ERR MOT:%d\r\n", motor_num);
//
//  if (motor_num == 4)
//	{
//	  bsp_led_toggle (LED_RED);
//	  PID *motor_pid = pid_get_ptr (motor_num);//获取速度环pid结构体
//	  motor_pid->active = false;
//	  motor_pid->output = 0;
//	  motor_pid->integral = 0;
//	  PID *motor_pid_pos = pid_get_ptr (motor_num + 4);//获取速度环pid结构体
//	  motor_pid_pos->active = false;
//	  motor_pid_pos->output = 0;
//	  motor_pid_pos->integral = 0;
//	}
//
//
//
////  PID *motor_pid = pid_get_ptr (motor_num);//获取速度环pid结构体
////  PID *raw_motor_pid = pid_get_raw_ptr (motor_num);//获取速度环pid原始结构体
////
////  motor_pid->active = false;
////  motor_pid->integral = 0;
////  motor_pid->output = 0;
////  if (motor_num > 3 && motor_num < 8)//如果是6020的ID范围则同时获取位置环pid结构体
////	{
////	  PID *motor_pid_pos = pid_get_ptr (motor_num + 4);//获取速度环pid结构体
////	  PID *raw_motor_pid_pos = pid_get_raw_ptr (motor_num + 4);//获取速度环pid原始结构体
////
//////	  *motor_pid_pos = *raw_motor_pid_pos;
////	  motor_pid_pos->active = false;
////	  motor_pid_pos->integral = 0;
////	  motor_pid_pos->output = 0;
////	}
//}

#pragma clang diagnostic pop
/* USER CODE END Application */
